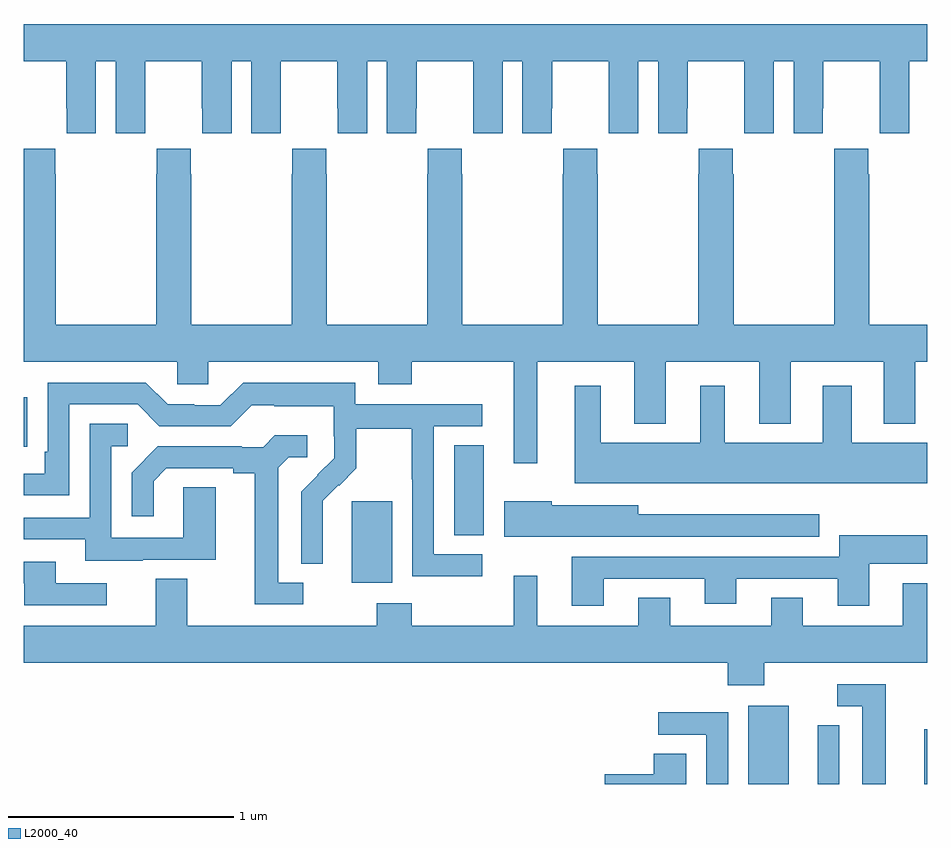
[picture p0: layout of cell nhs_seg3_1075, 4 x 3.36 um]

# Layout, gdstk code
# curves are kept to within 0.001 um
import gdstk
lib = gdstk.Library(unit=1e-6, precision=1e-09)
def R(c, l, rs):  # rectangles x0, y0, x1, y1
    for r in rs: c.add(gdstk.rectangle(r[:2], r[2:], *l))
def P(c, l, *ps):  # polygons
    for p in ps: c.add(gdstk.Polygon(p, *l))
L2000_40 = (2000, 40)

nhs_seg3_1075 = lib.new_cell('nhs_seg3_1075')
R(nhs_seg3_1075, L2000_40, [(170.207,680.4,170.386,680.746), (170.987,680.4,171,680.643), (168.452,681.29,168.631,681.651), (168.905,681.502,169.036,681.899), (167,681.892,167.015,682.111)])
P(nhs_seg3_1075, L2000_40, [(167,683.6),(167.189,683.6),(167.189,683.392),(167.19,683.392),(167.19,683.28),(167.32,683.28),(167.32,683.6),(167.408,683.6),(167.408,683.28),(167.538,683.28),(167.538,683.392),(167.539,683.392),(167.539,683.6),(167.789,683.6),(167.789,683.392),(167.79,683.392),(167.79,683.28),(167.92,683.28),(167.92,683.6),(168.008,683.6),(168.008,683.28),(168.138,683.28),(168.138,683.392),(168.139,683.392),(168.139,683.6),(168.389,683.6),(168.389,683.392),(168.39,683.392),(168.39,683.28),(168.52,683.28),(168.52,683.6),(168.608,683.6),(168.608,683.28),(168.738,683.28),(168.738,683.392),(168.739,683.392),(168.739,683.6),(168.989,683.6),(168.989,683.392),(168.99,683.392),(168.99,683.28),(169.12,683.28),(169.12,683.6),(169.208,683.6),(169.208,683.28),(169.338,683.28),(169.338,683.392),(169.339,683.392),(169.339,683.6),(169.589,683.6),(169.589,683.392),(169.59,683.392),(169.59,683.28),(169.72,683.28),(169.72,683.6),(169.808,683.6),(169.808,683.28),(169.938,683.28),(169.938,683.392),(169.939,683.392),(169.939,683.6),(170.189,683.6),(170.189,683.392),(170.19,683.392),(170.19,683.28),(170.32,683.28),(170.32,683.6),(170.408,683.6),(170.408,683.28),(170.538,683.28),(170.538,683.392),(170.539,683.392),(170.539,683.6),(170.789,683.6),(170.789,683.392),(170.79,683.392),(170.79,683.28),(170.92,683.28),(170.92,683.6),(171,683.6),(171,683.764),(167,683.764)],
  [(168.569,682.169),(168.717,682.169),(168.717,682.268),(169.169,682.268),(169.169,681.819),(169.273,681.819),(169.273,682.268),(169.703,682.268),(169.703,681.995),(169.843,681.995),(169.843,682.268),(170.255,682.268),(170.255,681.995),(170.395,681.995),(170.395,682.268),(170.807,682.268),(170.807,681.995),(170.947,681.995),(170.947,682.268),(171,682.268),(171,682.432),(170.742,682.432),(170.742,683.099),(170.739,683.099),(170.739,683.212),(170.589,683.212),(170.589,683.099),(170.587,683.099),(170.587,682.432),(170.142,682.432),(170.142,683.099),(170.139,683.099),(170.139,683.212),(169.989,683.212),(169.989,683.099),(169.987,683.099),(169.987,682.432),(169.542,682.432),(169.542,683.099),(169.539,683.099),(169.539,683.212),(169.389,683.212),(169.389,683.099),(169.387,683.099),(169.387,682.432),(168.942,682.432),(168.942,683.099),(168.939,683.099),(168.939,683.212),(168.789,683.212),(168.789,683.099),(168.787,683.099),(168.787,682.432),(168.342,682.432),(168.342,683.099),(168.339,683.099),(168.339,683.212),(168.189,683.212),(168.189,683.099),(168.187,683.099),(168.187,682.432),(167.742,682.432),(167.742,683.099),(167.739,683.099),(167.739,683.212),(167.589,683.212),(167.589,683.099),(167.587,683.099),(167.587,682.432),(167.142,682.432),(167.142,683.099),(167.139,683.099),(167.139,683.212),(167,683.212),(167,682.268),(167.679,682.268),(167.679,682.17),(167.817,682.17),(167.817,682.268),(168.569,682.268)],
  [(169.03,681.417),(168.816,681.417),(168.816,681.984),(169.03,681.984),(169.03,682.08),(168.468,682.08),(168.468,682.177),(167.971,682.177),(167.871,682.077),(167.756,682.077),(167.756,682.08),(167.637,682.08),(167.541,682.176),(167.106,682.176),(167.106,681.871),(167.093,681.871),(167.093,681.774),(167,681.774),(167,681.678),(167.202,681.678),(167.202,682.08),(167.505,682.08),(167.601,681.984),(167.916,681.984),(168.009,682.077),(168.109,682.077),(168.109,682.073),(168.372,682.073),(168.372,681.939),(168.374,681.939),(168.374,681.842),(168.228,681.694),(168.228,681.376),(168.324,681.376),(168.323,681.653),(168.393,681.723),(168.396,681.72),(168.473,681.797),(168.473,681.972),(168.718,681.972),(168.718,681.748),(168.72,681.748),(168.72,681.319),(169.03,681.319)],
  [(171,681.91),(170.665,681.91),(170.665,682.162),(170.537,682.162),(170.537,681.91),(170.104,681.91),(170.104,682.162),(169.994,682.162),(169.994,681.91),(169.555,681.91),(169.555,682.162),(169.439,682.162),(169.439,681.731),(171,681.731)],
  [(167.527,681.393),(167.851,681.393),(167.851,681.713),(167.706,681.713),(167.706,681.489),(167.388,681.489),(167.388,681.894),(167.461,681.894),(167.461,681.995),(167.292,681.995),(167.292,681.579),(167,681.579),(167,681.483),(167.273,681.483),(167.273,681.389),(167.527,681.389)],
  [(168.238,681.291),(168.127,681.291),(168.127,681.799),(168.174,681.846),(168.256,681.846),(168.256,681.943),(168.112,681.943),(168.06,681.891),(167.966,681.891),(167.966,681.894),(167.594,681.894),(167.478,681.778),(167.478,681.585),(167.575,681.585),(167.575,681.741),(167.632,681.798),(167.927,681.798),(167.927,681.776),(168.023,681.776),(168.023,681.195),(168.238,681.195)],
  [(170.521,681.595),(169.72,681.595),(169.72,681.634),(169.338,681.634),(169.338,681.652),(169.128,681.652),(169.128,681.494),(170.521,681.494)],
  [(169.567,681.309),(170.015,681.309),(170.015,681.197),(170.155,681.197),(170.155,681.309),(170.603,681.309),(170.603,681.189),(170.743,681.189),(170.743,681.374),(171,681.374),(171,681.502),(170.609,681.502),(170.609,681.405),(169.427,681.405),(169.427,681.189),(169.567,681.189)],
  [(167.368,681.288),(167.143,681.288),(167.143,681.384),(167,681.384),(167,681.288),(167.003,681.288),(167.003,681.192),(167.368,681.192)],
  [(170.117,680.837),(170.277,680.837),(170.277,680.936),(171,680.936),(171,681.289),(170.891,681.289),(170.891,681.1),(170.449,681.1),(170.449,681.224),(170.309,681.224),(170.309,681.1),(169.861,681.1),(169.861,681.224),(169.721,681.224),(169.721,681.1),(169.273,681.1),(169.273,681.322),(169.169,681.322),(169.169,681.1),(168.717,681.1),(168.717,681.199),(168.562,681.199),(168.562,681.1),(167.725,681.1),(167.725,681.308),(167.585,681.308),(167.585,681.1),(167,681.1),(167,680.936),(170.117,680.936)],
  [(170.815,680.841),(170.601,680.841),(170.601,680.745),(170.711,680.745),(170.711,680.4),(170.815,680.4)],
  [(170.118,680.718),(169.809,680.718),(169.809,680.619),(170.022,680.619),(170.022,680.4),(170.118,680.4)],
  [(170.61,680.66),(170.514,680.66),(170.514,680.506),(170.516,680.506),(170.516,680.4),(170.61,680.4)],
  [(169.933,680.534),(169.79,680.534),(169.79,680.444),(169.572,680.444),(169.572,680.4),(169.933,680.4)])

lib.write_gds('nhs_seg3_1075.gds')
